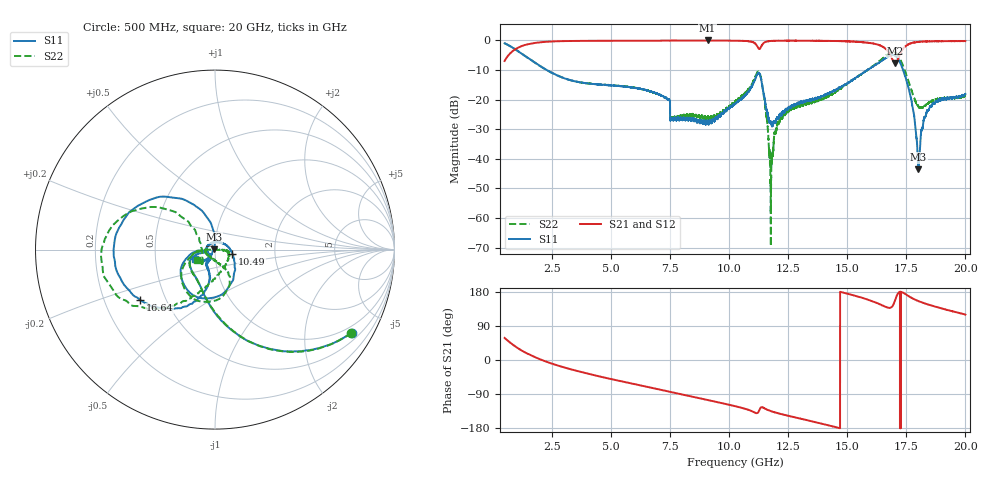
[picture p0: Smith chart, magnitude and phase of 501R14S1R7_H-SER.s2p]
!{501R14S1R7}
!Johanson Technology Inc.
!www.johansontechnology.com
!Test Board Conditions:
!Substrate Type  RO4350B
!Substrate Thickness  20 mil
!Substrate Dk  3.66
!TL Type: GCPW
!TL Trace Width  36 mil
!TL Gap  12 mil
!Electrode orientation  Horizontal
!DUT TOPOLOGY	SERIES
!Mounting Pad LxW  26x36 mil
! Created Wed Mar 11 15:56:19 2020
# mhz S ma R 50
! 2 Port Network Data from SP1.SP block
! freq  magS11  angS11  magS21  angS21  magS12  angS12  magS22  angS22
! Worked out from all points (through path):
!   19501 points, 500 MHz to 20 GHz, reference 50 ohm
!   highest |S21| = -0.05 dB at 9.091 GHz (marker M1); lowest = -7.8 dB at 17.04 GHz (marker M2)
!   group delay of S21, straight-line fit = 37.5 ps
!   lowest |S11| = -43.6 dB at 18 GHz (marker M3), VSWR 1.01, Z = 49.4 + j0.136 ohm
!   |S11| at or under -10 dB: 2.279 GHz to 15.87 GHz (13.59 GHz wide, 150 % of centre); 17.36 GHz to end of sweep
!   |S22| runs from -69.5 to -1.0 dB; largest |S21 - S12| = 0.018
!   S11 on the Smith chart (normalised r, x): 500 MHz: 0.76, -3.41; 10.49 GHz: 1.21, -0.06; 16.64 GHz: 0.36, -0.27; 20 GHz: 0.79, -0.08
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500  0.8907 -31.3  0.4483 58.3  0.4498 58.4  0.8908 -31.4
1789  0.4195 -82.5  0.9025 7.5  0.904 7.4  0.4189 -82.1
3750  0.1943 -121.3  0.9781 -31.8  0.9792 -31.8  0.194 -122.2
7000  0.1229 -162.6  0.9857 -77.1  0.9868 -77.2  0.1223 -169.0
7403  0.1007 -166.3  0.9882 -82.7  0.9882 -82.6  0.1002 -176.2
7598  0.04667 -163.4  0.993 -85.2  0.9929 -85.3  0.04898 -176.1
9091  0.04115 99.3  0.9947 -105.6  0.992 -105.6  0.05132 -134.5
10250  0.08409 1.2  0.9859 -121.8  0.9856 -121.7  0.09273 -70.1
10495  0.09991 -14.7  0.9816 -125.7  0.9813 -125.5  0.1093 -64.4
11289  0.2718 -125.1  0.7137 -130.9  0.7149 -130.8  0.286 -122.3
11779  0.04129 -143.7  0.9743 -135.0  0.9758 -135.0  0.004295 -7.6
11985  0.04424 -125.2  0.9831 -139.0  0.9844 -138.9  0.02818 -0.4
12240  0.05715 -120.8  0.9846 -143.2  0.9863 -143.2  0.04785 -3.2
13500  0.09974 -118.9  0.9849 -161.8  0.984 -161.9  0.0865 -31.7
15467  0.2469 -104.7  0.9416 167.1  0.9448 167.1  0.2455 -109.4
16636  0.5034 -146.3  0.7137 140.2  0.7 140.0  0.5513 -145.2
16750  0.537 -156.8  0.6297 137.8  0.6167 137.7  0.5962 -153.2
17039  0.5449 166.4  0.4095 159.9  0.4048 160.4  0.6204 175.9
17638  0.1309 97.7  0.876 167.0  0.8769 167.3  0.1781 135.4
18003  0.00659 167.9  0.9385 155.8  0.9388 155.8  0.0777 170.7
18562  0.0761 -132.1  0.9641 143.8  0.9576 143.9  0.09282 -138.2
20000  0.1242 -156.2  0.9707 119.9  0.9684 120.3  0.1146 -148.4
